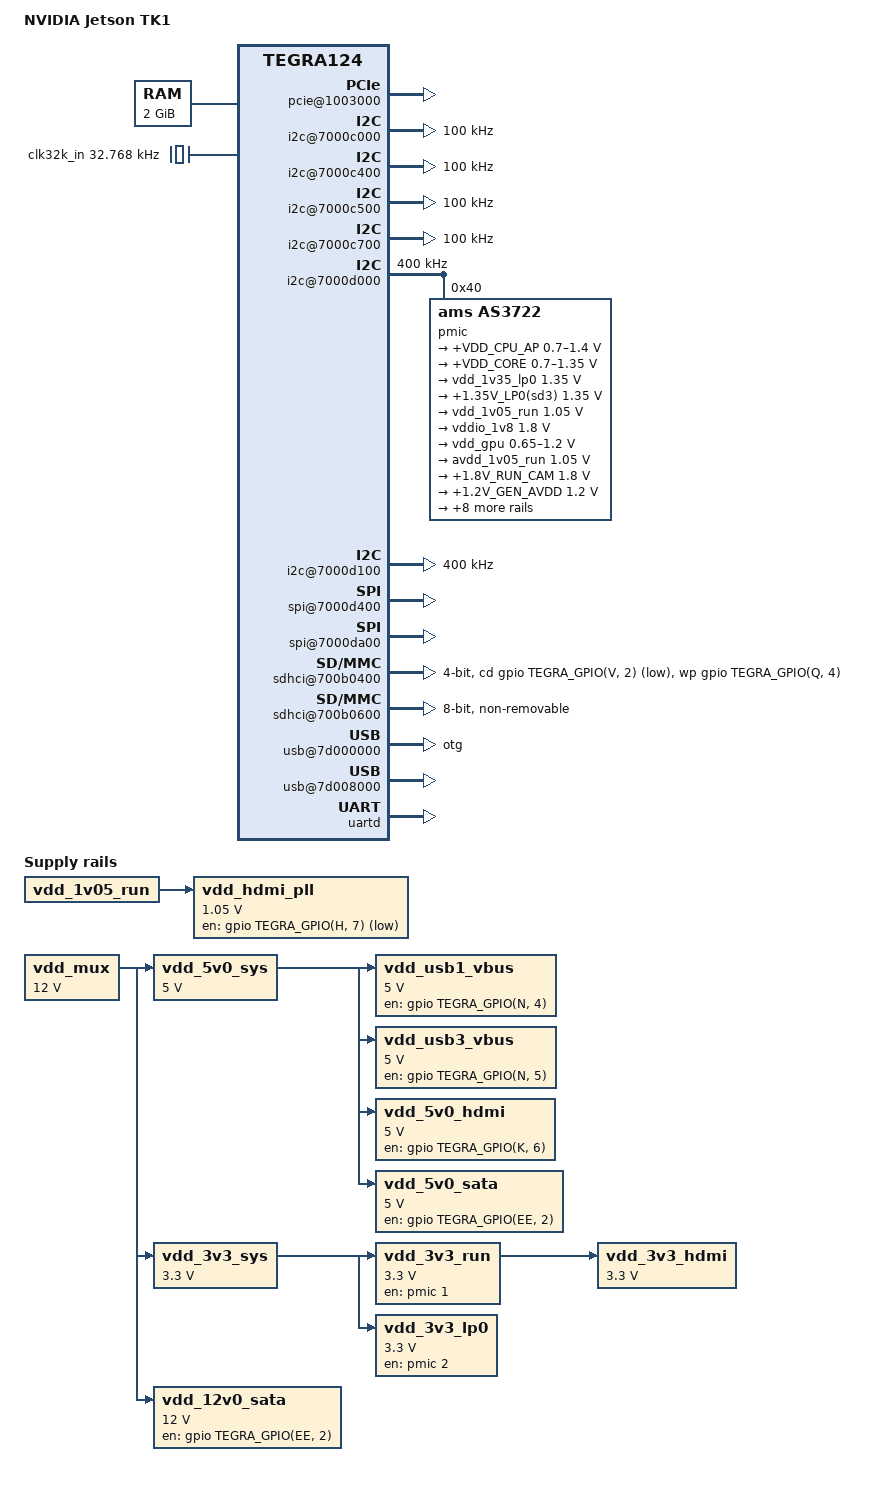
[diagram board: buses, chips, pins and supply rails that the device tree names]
/dts-v1/;

#include "tegra124.dtsi"

/ {
	model = "NVIDIA Jetson TK1";
	compatible = "nvidia,jetson-tk1", "nvidia,tegra124";

	chosen {
		stdout-path = &uartd;
	};

	aliases {
		i2c0 = "/i2c@7000d000";
		i2c1 = "/i2c@7000c000";
		i2c2 = "/i2c@7000c400";
		i2c3 = "/i2c@7000c500";
		i2c4 = "/i2c@7000c700";
		mmc0 = "/sdhci@700b0600";
		mmc1 = "/sdhci@700b0400";
		spi0 = "/spi@7000d400";
		spi1 = "/spi@7000da00";
		usb0 = "/usb@7d000000";
		usb1 = "/usb@7d008000";
	};

	memory {
		device_type = "memory";
		reg = <0x80000000 0x80000000>;
	};

	pcie@1003000 {
		status = "okay";

		avddio-pex-supply = <&vdd_1v05_run>;
		dvddio-pex-supply = <&vdd_1v05_run>;
		avdd-pex-pll-supply = <&vdd_1v05_run>;
		hvdd-pex-supply = <&vdd_3v3_lp0>;
		hvdd-pex-pll-e-supply = <&vdd_3v3_lp0>;
		vddio-pex-ctl-supply = <&vdd_3v3_lp0>;
		avdd-pll-erefe-supply = <&avdd_1v05_run>;

		pci@1,0 {
			status = "okay";
		};

		pci@2,0 {
			status = "okay";
		};
	};

	i2c@7000c000 {
		status = "okay";
		clock-frequency = <100000>;
	};

	i2c@7000c400 {
		status = "okay";
		clock-frequency = <100000>;
	};

	i2c@7000c500 {
		status = "okay";
		clock-frequency = <100000>;
	};

	i2c@7000c700 {
		status = "okay";
		clock-frequency = <100000>;
	};

	/* Expansion PWR_I2C_*, on-board components */
	i2c@7000d000 {
		status = "okay";
		clock-frequency = <400000>;

		pmic: pmic@40 {
			compatible = "ams,as3722";
			reg = <0x40>;
			interrupts = <0 86 IRQ_TYPE_LEVEL_HIGH>;

			ams,system-power-controller;

			#interrupt-cells = <2>;
			interrupt-controller;

			gpio-controller;
			#gpio-cells = <2>;

			pinctrl-names = "default";
			pinctrl-0 = <&as3722_default>;

			as3722_default: pinmux {
				gpio0 {
					pins = "gpio0";
					function = "gpio";
					bias-pull-down;
				};

				gpio1_2_4_7 {
					pins = "gpio1", "gpio2", "gpio4", "gpio7";
					function = "gpio";
					bias-pull-up;
				};

				gpio3_5_6 {
					pins = "gpio3", "gpio5", "gpio6";
					bias-high-impedance;
				};
			};

			regulators {
				vsup-sd2-supply = <&vdd_5v0_sys>;
				vsup-sd3-supply = <&vdd_5v0_sys>;
				vsup-sd4-supply = <&vdd_5v0_sys>;
				vsup-sd5-supply = <&vdd_5v0_sys>;
				vin-ldo0-supply = <&vdd_1v35_lp0>;
				vin-ldo1-6-supply = <&vdd_3v3_run>;
				vin-ldo2-5-7-supply = <&vddio_1v8>;
				vin-ldo3-4-supply = <&vdd_3v3_sys>;
				vin-ldo9-10-supply = <&vdd_5v0_sys>;
				vin-ldo11-supply = <&vdd_3v3_run>;

				sd0 {
					regulator-name = "+VDD_CPU_AP";
					regulator-min-microvolt = <700000>;
					regulator-max-microvolt = <1400000>;
					regulator-min-microamp = <3500000>;
					regulator-max-microamp = <3500000>;
					regulator-always-on;
					regulator-boot-on;
					ams,ext-control = <2>;
				};

				sd1 {
					regulator-name = "+VDD_CORE";
					regulator-min-microvolt = <700000>;
					regulator-max-microvolt = <1350000>;
					regulator-min-microamp = <2500000>;
					regulator-max-microamp = <2500000>;
					regulator-always-on;
					regulator-boot-on;
					ams,ext-control = <1>;
				};

				vdd_1v35_lp0: sd2 {
					regulator-name = "+1.35V_LP0(sd2)";
					regulator-min-microvolt = <1350000>;
					regulator-max-microvolt = <1350000>;
					regulator-always-on;
					regulator-boot-on;
				};

				sd3 {
					regulator-name = "+1.35V_LP0(sd3)";
					regulator-min-microvolt = <1350000>;
					regulator-max-microvolt = <1350000>;
					regulator-always-on;
					regulator-boot-on;
				};

				vdd_1v05_run: sd4 {
					regulator-name = "+1.05V_RUN";
					regulator-min-microvolt = <1050000>;
					regulator-max-microvolt = <1050000>;
				};

				vddio_1v8: sd5 {
					regulator-name = "+1.8V_VDDIO";
					regulator-min-microvolt = <1800000>;
					regulator-max-microvolt = <1800000>;
					regulator-boot-on;
					regulator-always-on;
				};

				vdd_gpu: sd6 {
					regulator-name = "+VDD_GPU_AP";
					regulator-min-microvolt = <650000>;
					regulator-max-microvolt = <1200000>;
					regulator-min-microamp = <3500000>;
					regulator-max-microamp = <3500000>;
					regulator-boot-on;
					regulator-always-on;
				};

				avdd_1v05_run: ldo0 {
					regulator-name = "+1.05V_RUN_AVDD";
					regulator-min-microvolt = <1050000>;
					regulator-max-microvolt = <1050000>;
					regulator-boot-on;
					regulator-always-on;
					ams,ext-control = <1>;
				};

				ldo1 {
					regulator-name = "+1.8V_RUN_CAM";
					regulator-min-microvolt = <1800000>;
					regulator-max-microvolt = <1800000>;
				};

				ldo2 {
					regulator-name = "+1.2V_GEN_AVDD";
					regulator-min-microvolt = <1200000>;
					regulator-max-microvolt = <1200000>;
					regulator-boot-on;
					regulator-always-on;
				};

				ldo3 {
					regulator-name = "+1.05V_LP0_VDD_RTC";
					regulator-min-microvolt = <1000000>;
					regulator-max-microvolt = <1000000>;
					regulator-boot-on;
					regulator-always-on;
					ams,enable-tracking;
				};

				ldo4 {
					regulator-name = "+2.8V_RUN_CAM";
					regulator-min-microvolt = <2800000>;
					regulator-max-microvolt = <2800000>;
				};

				ldo5 {
					regulator-name = "+1.2V_RUN_CAM_FRONT";
					regulator-min-microvolt = <1200000>;
					regulator-max-microvolt = <1200000>;
				};

				vddio_sdmmc3: ldo6 {
					regulator-name = "+VDDIO_SDMMC3";
					regulator-min-microvolt = <1800000>;
					regulator-max-microvolt = <3300000>;
				};

				ldo7 {
					regulator-name = "+1.05V_RUN_CAM_REAR";
					regulator-min-microvolt = <1050000>;
					regulator-max-microvolt = <1050000>;
				};

				ldo9 {
					regulator-name = "+3.3V_RUN_TOUCH";
					regulator-min-microvolt = <2800000>;
					regulator-max-microvolt = <2800000>;
				};

				ldo10 {
					regulator-name = "+2.8V_RUN_CAM_AF";
					regulator-min-microvolt = <2800000>;
					regulator-max-microvolt = <2800000>;
				};

				ldo11 {
					regulator-name = "+1.8V_RUN_VPP_FUSE";
					regulator-min-microvolt = <1800000>;
					regulator-max-microvolt = <1800000>;
				};
			};
		};
	};

	i2c@7000d100 {
		status = "okay";
		clock-frequency = <400000>;
	};

	spi@7000d400 {
		status = "okay";
		spi-max-frequency = <25000000>;
	};

	spi@7000da00 {
		status = "okay";
		spi-max-frequency = <25000000>;
	};

	padctl@7009f000 {
		pinctrl-0 = <&padctl_default>;
		pinctrl-names = "default";

		padctl_default: pinmux {
			usb3 {
				nvidia,lanes = "pcie-0", "pcie-1";
				nvidia,function = "usb3";
				nvidia,iddq = <0>;
			};

			pcie {
				nvidia,lanes = "pcie-2", "pcie-3",
					       "pcie-4";
				nvidia,function = "pcie";
				nvidia,iddq = <0>;
			};

			sata {
				nvidia,lanes = "sata-0";
				nvidia,function = "sata";
				nvidia,iddq = <0>;
			};
		};
	};

	sdhci@700b0400 {
		status = "okay";
		cd-gpios = <&gpio TEGRA_GPIO(V, 2) GPIO_ACTIVE_LOW>;
		power-gpios = <&gpio TEGRA_GPIO(R, 0) GPIO_ACTIVE_HIGH>;
		wp-gpios = <&gpio TEGRA_GPIO(Q, 4) GPIO_ACTIVE_HIGH>;
		bus-width = <4>;
	};

	sdhci@700b0600 {
		status = "okay";
		bus-width = <8>;
		non-removable;
	};

	usb@7d000000 {
		status = "okay";
		dr_mode = "otg";
		nvidia,vbus-gpio = <&gpio TEGRA_GPIO(N, 4) GPIO_ACTIVE_HIGH>;
	};

	usb@7d008000 {
		status = "okay";
		nvidia,vbus-gpio = <&gpio TEGRA_GPIO(N, 5) GPIO_ACTIVE_HIGH>;
	};

	clocks {
		compatible = "simple-bus";
		#address-cells = <1>;
		#size-cells = <0>;

		clk32k_in: clock@0 {
			compatible = "fixed-clock";
			reg = <0>;
			#clock-cells = <0>;
			clock-frequency = <32768>;
		};
	};

	regulators {
		compatible = "simple-bus";
		#address-cells = <1>;
		#size-cells = <0>;

		vdd_mux: regulator@0 {
			compatible = "regulator-fixed";
			reg = <0>;
			regulator-name = "+VDD_MUX";
			regulator-min-microvolt = <12000000>;
			regulator-max-microvolt = <12000000>;
			regulator-always-on;
			regulator-boot-on;
		};

		vdd_5v0_sys: regulator@1 {
			compatible = "regulator-fixed";
			reg = <1>;
			regulator-name = "+5V_SYS";
			regulator-min-microvolt = <5000000>;
			regulator-max-microvolt = <5000000>;
			regulator-always-on;
			regulator-boot-on;
			vin-supply = <&vdd_mux>;
		};

		vdd_3v3_sys: regulator@2 {
			compatible = "regulator-fixed";
			reg = <2>;
			regulator-name = "+3.3V_SYS";
			regulator-min-microvolt = <3300000>;
			regulator-max-microvolt = <3300000>;
			regulator-always-on;
			regulator-boot-on;
			vin-supply = <&vdd_mux>;
		};

		vdd_3v3_run: regulator@3 {
			compatible = "regulator-fixed";
			reg = <3>;
			regulator-name = "+3.3V_RUN";
			regulator-min-microvolt = <3300000>;
			regulator-max-microvolt = <3300000>;
			regulator-always-on;
			regulator-boot-on;
			gpio = <&pmic 1 GPIO_ACTIVE_HIGH>;
			enable-active-high;
			vin-supply = <&vdd_3v3_sys>;
		};

		vdd_3v3_hdmi: regulator@4 {
			compatible = "regulator-fixed";
			reg = <4>;
			regulator-name = "+3.3V_AVDD_HDMI_AP_GATED";
			regulator-min-microvolt = <3300000>;
			regulator-max-microvolt = <3300000>;
			vin-supply = <&vdd_3v3_run>;
		};

		vdd_usb1_vbus: regulator@7 {
			compatible = "regulator-fixed";
			reg = <7>;
			regulator-name = "+USB0_VBUS_SW";
			regulator-min-microvolt = <5000000>;
			regulator-max-microvolt = <5000000>;
			gpio = <&gpio TEGRA_GPIO(N, 4) GPIO_ACTIVE_HIGH>;
			enable-active-high;
			gpio-open-drain;
			vin-supply = <&vdd_5v0_sys>;
		};

		vdd_usb3_vbus: regulator@8 {
			compatible = "regulator-fixed";
			reg = <8>;
			regulator-name = "+5V_USB_HS";
			regulator-min-microvolt = <5000000>;
			regulator-max-microvolt = <5000000>;
			gpio = <&gpio TEGRA_GPIO(N, 5) GPIO_ACTIVE_HIGH>;
			enable-active-high;
			gpio-open-drain;
			vin-supply = <&vdd_5v0_sys>;
		};

		vdd_3v3_lp0: regulator@10 {
			compatible = "regulator-fixed";
			reg = <10>;
			regulator-name = "+3.3V_LP0";
			regulator-min-microvolt = <3300000>;
			regulator-max-microvolt = <3300000>;
			regulator-always-on;
			regulator-boot-on;
			gpio = <&pmic 2 GPIO_ACTIVE_HIGH>;
			enable-active-high;
			vin-supply = <&vdd_3v3_sys>;
		};

		vdd_hdmi_pll: regulator@11 {
			compatible = "regulator-fixed";
			reg = <11>;
			regulator-name = "+1.05V_RUN_AVDD_HDMI_PLL";
			regulator-min-microvolt = <1050000>;
			regulator-max-microvolt = <1050000>;
			gpio = <&gpio TEGRA_GPIO(H, 7) GPIO_ACTIVE_LOW>;
			vin-supply = <&vdd_1v05_run>;
		};

		vdd_5v0_hdmi: regulator@12 {
			compatible = "regulator-fixed";
			reg = <12>;
			regulator-name = "+5V_HDMI_CON";
			regulator-min-microvolt = <5000000>;
			regulator-max-microvolt = <5000000>;
			gpio = <&gpio TEGRA_GPIO(K, 6) GPIO_ACTIVE_HIGH>;
			enable-active-high;
			vin-supply = <&vdd_5v0_sys>;
		};

		/* Molex power connector */
		vdd_5v0_sata: regulator@13 {
			compatible = "regulator-fixed";
			reg = <13>;
			regulator-name = "+5V_SATA";
			regulator-min-microvolt = <5000000>;
			regulator-max-microvolt = <5000000>;
			gpio = <&gpio TEGRA_GPIO(EE, 2) GPIO_ACTIVE_HIGH>;
			enable-active-high;
			vin-supply = <&vdd_5v0_sys>;
		};

		vdd_12v0_sata: regulator@14 {
			compatible = "regulator-fixed";
			reg = <14>;
			regulator-name = "+12V_SATA";
			regulator-min-microvolt = <12000000>;
			regulator-max-microvolt = <12000000>;
			gpio = <&gpio TEGRA_GPIO(EE, 2) GPIO_ACTIVE_HIGH>;
			enable-active-high;
			vin-supply = <&vdd_mux>;
		};
	};
};

&uartd {
	status = "okay";
};
